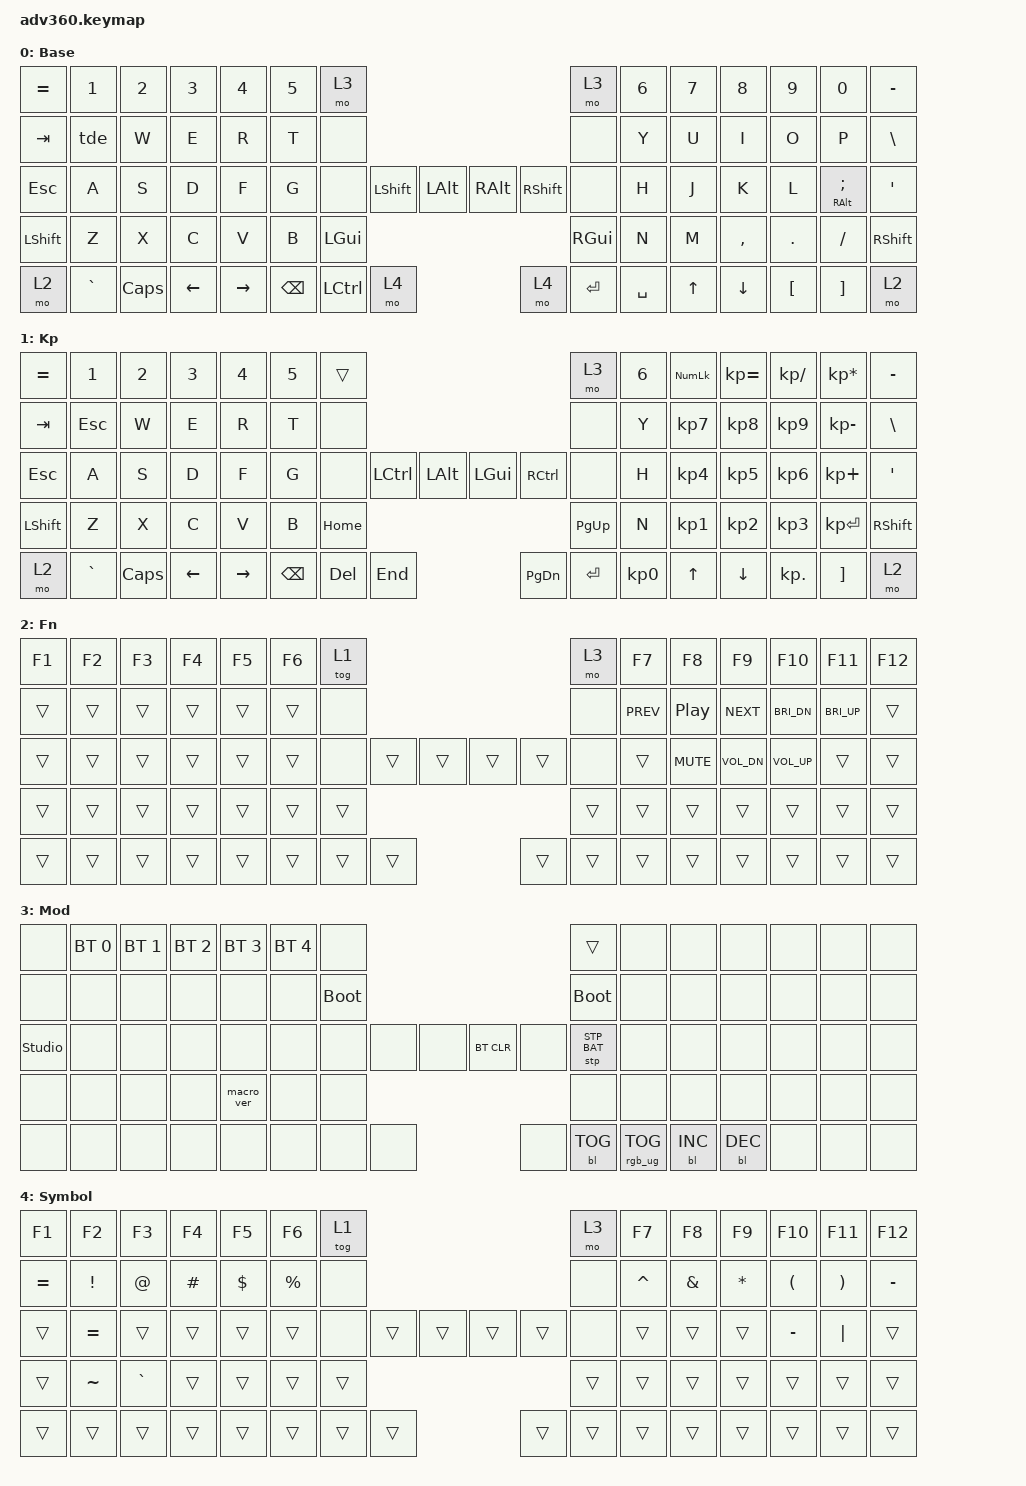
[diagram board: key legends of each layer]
#include <behaviors.dtsi>
#include <dt-bindings/zmk/keys.h>
#include <dt-bindings/zmk/bt.h>
#include <dt-bindings/zmk/rgb.h>
#include <dt-bindings/zmk/stp.h>
#include <dt-bindings/zmk/backlight.h>
#include <dt-bindings/zmk/pointing.h>

/ {
    behaviors {
      #include "macros.dtsi"
      #include "version.dtsi"

      hm: homerow_mods {
          compatible = "zmk,behavior-hold-tap";
          label = "HOMEROW_MODS";
          #binding-cells = <2>;
          tapping-term-ms = <200>;
          quick_tap_ms = <175>;
          flavor = "tap-preferred";
          bindings = <&kp>, <&kp>;
      };
      tde: tap_dance_e {
           compatible = "zmk,behavior-tap-dance";
           label = "TAP_DANCE_0";
           #binding-cells = <0>;
           tapping-term-ms = <200>;
           bindings = <&kp Q>, <&kp ESC>;
      };
    };

  keymap {
    compatible = "zmk,keymap";

    default_layer {
      display-name = "Base";
      bindings = <
        &kp EQUAL &kp N1    &kp N2   &kp N3   &kp N4     &kp N5 &mo 3                                                            &mo 3 &kp N6 &kp N7 &kp N8    &kp N9   &kp N0   &kp MINUS
        &kp TAB   &tde      &kp W    &kp E    &kp R      &kp T  &none                                                            &none &kp Y  &kp U  &kp I     &kp O    &kp P    &kp BSLH
        &kp ESC   &kp A     &kp S    &kp D    &kp F      &kp G  &none           &kp LSHFT &kp LALT  &kp RALT  &kp RSHFT          &none &kp H  &kp J  &kp K     &kp L    &hm RALT SEMI &kp SQT
        &kp LSHFT &kp Z     &kp X    &kp C    &kp V      &kp B                            &kp LGUI  &kp RGUI                         &kp N  &kp M  &kp COMMA &kp DOT  &kp FSLH &kp RSHFT
        &mo 2     &kp GRAVE &kp CAPS &kp LEFT &kp RIGHT                &kp BSPC &kp LCTRL &mo 4      &mo 4 &kp ENTER &kp SPACE            &kp UP &kp DOWN  &kp LBKT &kp RBKT &mo 2
      >;
    };
    keypad {
      display-name = "Kp";
      bindings = <
        &kp EQUAL &kp N1    &kp N2   &kp N3   &kp N4     &kp N5 &trans                                                           &mo 3 &kp N6 &kp KP_NUM &kp KP_EQUAL &kp KP_DIVIDE &kp KP_MULTIPLY &kp MINUS
        &kp TAB   &kp ESC     &kp W    &kp E    &kp R      &kp T  &none                                                            &none &kp Y  &kp KP_N7  &kp KP_N8    &kp KP_N9     &kp KP_MINUS    &kp BSLH
        &kp ESC   &kp A     &kp S    &kp D    &kp F      &kp G  &none           &kp LCTRL &kp LALT &kp LGUI  &kp RCTRL           &none &kp H  &kp KP_N4  &kp KP_N5    &kp KP_N6     &kp KP_PLUS     &kp SQT
        &kp LSHFT &kp Z     &kp X    &kp C    &kp V      &kp B                            &kp HOME &kp PG_UP                           &kp N  &kp KP_N1  &kp KP_N2    &kp KP_N3     &kp KP_ENTER    &kp RSHFT
        &mo 2     &kp GRAVE &kp CAPS &kp LEFT &kp RIGHT                &kp BSPC &kp DEL   &kp END  &kp PG_DN &kp ENTER &kp KP_N0              &kp UP     &kp DOWN     &kp KP_DOT    &kp RBKT        &mo 2
      >;
    };
    fn {
      display-name = "Fn";
      bindings = <
        &kp F1 &kp F2 &kp F3 &kp F4 &kp F5 &kp F6 &tog 1                                           &mo 3 &kp F7 &kp F8 &kp F9 &kp F10 &kp F11 &kp F12
        &trans &trans &trans &trans &trans &trans  &none                                           &none &kp C_PREV &kp C_PP &kp C_NEXT &kp C_BRI_DN &kp C_BRI_UP &trans
        &trans &trans &trans &trans &trans &trans  &none        &trans &trans &trans &trans        &none &trans &kp C_MUTE &kp C_VOL_DN &kp C_VOL_UP  &trans  &trans
        &trans &trans &trans &trans &trans &trans                      &trans &trans                     &trans &trans &trans &trans  &trans  &trans
        &trans &trans &trans &trans &trans               &trans &trans &trans &trans &trans &trans              &trans &trans &trans  &trans  &trans
      >;
    };
    mod {
      display-name = "Mod";
      bindings = <
        &none &bt BT_SEL 0 &bt BT_SEL 1 &bt BT_SEL 2 &bt BT_SEL 3 &bt BT_SEL 4 &none                                                                &trans                 &none        &none        &none        &none &none &none
        &none &none        &none        &none        &none        &none        &bootloader                                                          &bootloader            &none        &none        &none        &none &none &none
        &studio_unlock &none &none      &none        &none        &none        &none              &none &none &bt BT_CLR &none                      &stp STP_BAT           &none        &none        &none        &none &none &none
        &none &none        &none        &none        &macro_ver   &none                                 &none &none                                                        &none        &none        &none        &none &none &none
        &none &none        &none        &none        &none                                  &none &none &none &none &bl BL_TOG &rgb_ug RGB_TOG                                     &bl BL_INC   &bl BL_DEC   &none &none &none
      >;
    };
    symbol {
      display-name = "Symbol";
      bindings = <
        &kp F1 &kp F2 &kp F3 &kp F4 &kp F5 &kp F6 &tog 1                                           &mo 3 &kp F7 &kp F8 &kp F9 &kp F10 &kp F11 &kp F12
        &kp EQUAL &kp EXCL &kp AT &kp HASH &kp DLLR &kp PRCNT   &none                              &none &kp CARET &kp AMPS &kp STAR &kp LPAR &kp RPAR &kp MINUS
        &trans &kp EQUAL &trans &trans &trans &trans  &none     &trans &trans &trans &trans        &none &trans &trans &trans &kp MINUS  &kp PIPE  &trans
        &trans &kp TILDE &kp GRAVE &trans &trans &trans                      &trans &trans                     &trans &trans &trans &trans  &trans  &trans
        &trans &trans &trans &trans &trans               &trans &trans &trans &trans &trans &trans              &trans &trans &trans  &trans  &trans
      >;
    };
    extra1 {
      display-name = "Red";
      status = "reserved";
    };
    extra2 {
      display-name = "Purple";
      status = "reserved";
    };
    extra3 {
      display-name = "Cyan";
      status = "reserved";
    };
    extra4 {
      display-name = "Yellow";
      status = "reserved";
    };
    };
  };
